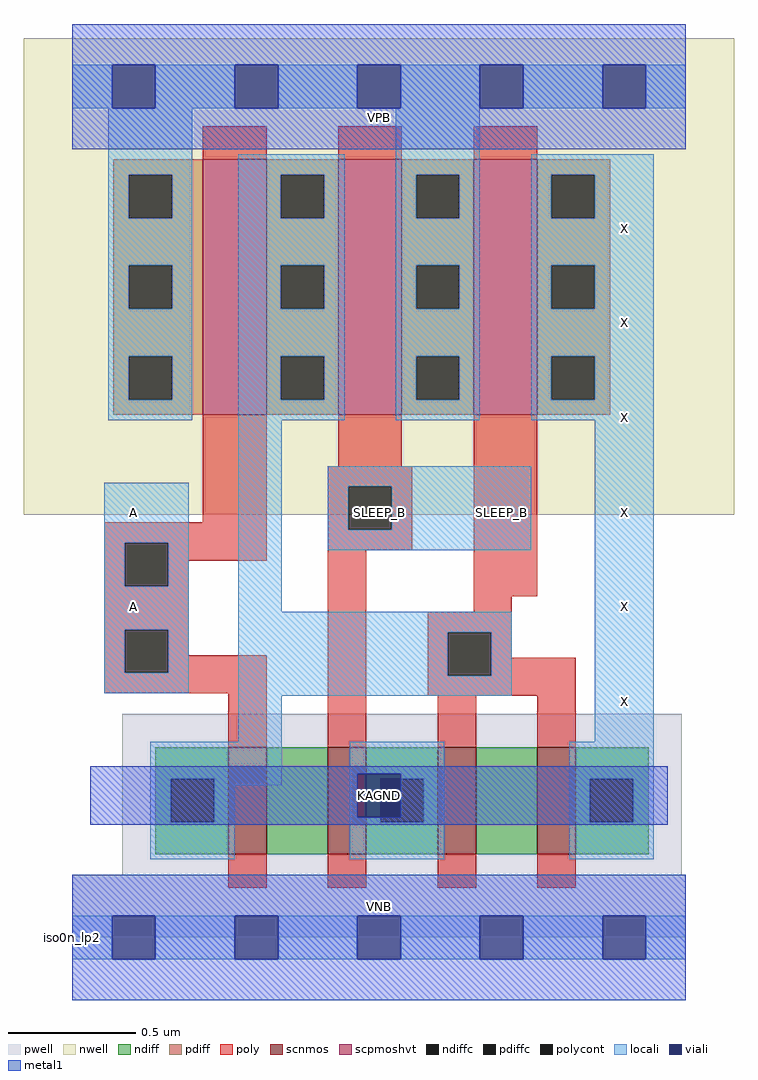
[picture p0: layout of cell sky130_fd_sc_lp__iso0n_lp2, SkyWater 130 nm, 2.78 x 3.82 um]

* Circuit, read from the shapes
.subckt sky130_fd_sc_lp__iso0n_lp2 A SLEEP_B KAGND VGND VNB VPB VPWR X
XM1 n1 A n2 VNB sky130_fd_pr__nfet_01v8 w=0.42 l=0.15
XM2 KAGND SLEEP_B n1 VNB sky130_fd_pr__nfet_01v8 w=0.42 l=0.15
XM3 n3 n2 KAGND VNB sky130_fd_pr__nfet_01v8 w=0.42 l=0.15
XM4 X n2 n3 VNB sky130_fd_pr__nfet_01v8 w=0.42 l=0.15
XM5 n2 A VPWR VPB sky130_fd_pr__pfet_01v8_hvt w=1 l=0.25
XM6 VPWR SLEEP_B n2 VPB sky130_fd_pr__pfet_01v8_hvt w=1 l=0.25
XM7 X n2 VPWR VPB sky130_fd_pr__pfet_01v8_hvt w=1 l=0.25
.ends

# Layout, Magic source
magic
tech sky130A
magscale 1 2
<< nwell >>
rect -38 331 518 704
<< pwell >>
rect 39 49 477 175
rect 0 0 480 49
<< scnmos >>
rect 122 65 152 149
rect 200 65 230 149
rect 286 65 316 149
rect 364 65 394 149
<< scpmoshvt >>
rect 102 409 152 609
rect 208 409 258 609
rect 314 409 364 609
<< ndiff >>
rect 65 124 122 149
rect 65 90 77 124
rect 111 90 122 124
rect 65 65 122 90
rect 152 65 200 149
rect 230 124 286 149
rect 230 90 241 124
rect 275 90 286 124
rect 230 65 286 90
rect 316 65 364 149
rect 394 124 451 149
rect 394 90 405 124
rect 439 90 451 124
rect 394 65 451 90
<< pdiff >>
rect 32 597 102 609
rect 32 563 44 597
rect 78 563 102 597
rect 32 526 102 563
rect 32 492 44 526
rect 78 492 102 526
rect 32 455 102 492
rect 32 421 44 455
rect 78 421 102 455
rect 32 409 102 421
rect 152 597 208 609
rect 152 563 163 597
rect 197 563 208 597
rect 152 526 208 563
rect 152 492 163 526
rect 197 492 208 526
rect 152 455 208 492
rect 152 421 163 455
rect 197 421 208 455
rect 152 409 208 421
rect 258 597 314 609
rect 258 563 269 597
rect 303 563 314 597
rect 258 526 314 563
rect 258 492 269 526
rect 303 492 314 526
rect 258 455 314 492
rect 258 421 269 455
rect 303 421 314 455
rect 258 409 314 421
rect 364 597 421 609
rect 364 563 375 597
rect 409 563 421 597
rect 364 526 421 563
rect 364 492 375 526
rect 409 492 421 526
rect 364 455 421 492
rect 364 421 375 455
rect 409 421 421 455
rect 364 409 421 421
<< ndiffc >>
rect 77 90 111 124
rect 241 90 275 124
rect 405 90 439 124
<< pdiffc >>
rect 44 563 78 597
rect 44 492 78 526
rect 44 421 78 455
rect 163 563 197 597
rect 163 492 197 526
rect 163 421 197 455
rect 269 563 303 597
rect 269 492 303 526
rect 269 421 303 455
rect 375 563 409 597
rect 375 492 409 526
rect 375 421 409 455
<< poly >>
rect 102 609 152 635
rect 208 609 258 635
rect 314 609 364 635
rect 102 325 152 409
rect 208 369 258 409
rect 25 309 152 325
rect 25 275 41 309
rect 75 295 152 309
rect 200 353 266 369
rect 200 319 216 353
rect 250 319 266 353
rect 200 303 266 319
rect 75 275 91 295
rect 25 241 91 275
rect 25 207 41 241
rect 75 221 91 241
rect 75 207 152 221
rect 25 191 152 207
rect 122 149 152 191
rect 200 149 230 303
rect 314 267 364 409
rect 314 255 344 267
rect 278 239 344 255
rect 278 205 294 239
rect 328 219 344 239
rect 328 205 394 219
rect 278 189 394 205
rect 286 149 316 189
rect 364 149 394 189
rect 122 39 152 65
rect 200 39 230 65
rect 286 39 316 65
rect 364 39 394 65
<< polycont >>
rect 41 275 75 309
rect 216 319 250 353
rect 41 207 75 241
rect 294 205 328 239
<< locali >>
rect 0 649 31 683
rect 65 649 127 683
rect 161 649 223 683
rect 257 649 319 683
rect 353 649 415 683
rect 449 649 480 683
rect 28 597 94 649
rect 28 563 44 597
rect 78 563 94 597
rect 28 526 94 563
rect 28 492 44 526
rect 78 492 94 526
rect 28 455 94 492
rect 28 421 44 455
rect 78 421 94 455
rect 28 405 94 421
rect 130 597 213 613
rect 130 563 163 597
rect 197 563 213 597
rect 130 526 213 563
rect 130 492 163 526
rect 197 492 213 526
rect 130 455 213 492
rect 130 421 163 455
rect 197 421 213 455
rect 130 405 213 421
rect 253 597 319 649
rect 253 563 269 597
rect 303 563 319 597
rect 253 526 319 563
rect 253 492 269 526
rect 303 492 319 526
rect 253 455 319 492
rect 253 421 269 455
rect 303 421 319 455
rect 253 405 319 421
rect 359 597 455 613
rect 359 563 375 597
rect 409 563 455 597
rect 359 526 455 563
rect 359 492 375 526
rect 409 492 455 526
rect 359 455 455 492
rect 359 421 375 455
rect 409 421 455 455
rect 359 405 455 421
rect 25 309 91 356
rect 25 275 41 309
rect 75 275 91 309
rect 25 241 91 275
rect 25 207 41 241
rect 75 207 91 241
rect 25 191 91 207
rect 130 255 164 405
rect 200 353 359 369
rect 200 319 216 353
rect 250 319 359 353
rect 200 303 359 319
rect 130 239 344 255
rect 130 205 294 239
rect 328 205 344 239
rect 130 189 344 205
rect 130 153 164 189
rect 409 153 455 405
rect 61 124 164 153
rect 61 90 77 124
rect 111 119 164 124
rect 217 128 291 153
rect 111 90 127 119
rect 61 61 127 90
rect 217 94 223 128
rect 257 124 291 128
rect 217 90 241 94
rect 275 90 291 124
rect 217 61 291 90
rect 389 124 455 153
rect 389 90 405 124
rect 439 90 455 124
rect 389 61 455 90
rect 0 -17 31 17
rect 65 -17 127 17
rect 161 -17 223 17
rect 257 -17 319 17
rect 353 -17 415 17
rect 449 -17 480 17
<< viali >>
rect 31 649 65 683
rect 127 649 161 683
rect 223 649 257 683
rect 319 649 353 683
rect 415 649 449 683
rect 223 124 257 128
rect 223 94 241 124
rect 241 94 257 124
rect 31 -17 65 17
rect 127 -17 161 17
rect 223 -17 257 17
rect 319 -17 353 17
rect 415 -17 449 17
<< metal1 >>
rect 0 683 480 715
rect 0 649 31 683
rect 65 649 127 683
rect 161 649 223 683
rect 257 649 319 683
rect 353 649 415 683
rect 449 649 480 683
rect 0 617 480 649
rect 14 128 466 134
rect 14 94 223 128
rect 257 94 466 128
rect 14 88 466 94
rect 0 17 480 49
rect 0 -17 31 17
rect 65 -17 127 17
rect 161 -17 223 17
rect 257 -17 319 17
rect 353 -17 415 17
rect 449 -17 480 17
rect 0 -49 480 -17
<< labels >>
flabel pwell s 0 0 480 49 0 FreeSans 200 0 0 0 VNB
port 5 nsew ground bidirectional
flabel nwell s 0 617 480 666 0 FreeSans 200 0 0 0 VPB
port 6 nsew power bidirectional
rlabel comment s 0 0 0 0 4 iso0n_lp2
flabel metal1 s 14 88 466 134 0 FreeSans 340 0 0 0 KAGND
port 3 nsew ground input
flabel metal1 s 0 617 480 666 0 FreeSans 340 0 0 0 VPWR
port 7 nsew power bidirectional
flabel metal1 s 0 0 480 49 0 FreeSans 340 0 0 0 VGND
port 4 nsew ground bidirectional
flabel locali s 223 316 257 350 0 FreeSans 340 0 0 0 SLEEP_B
port 2 nsew signal input
flabel locali s 319 316 353 350 0 FreeSans 340 0 0 0 SLEEP_B
port 2 nsew signal input
flabel locali s 31 242 65 276 0 FreeSans 340 0 0 0 A
port 1 nsew signal input
flabel locali s 31 316 65 350 0 FreeSans 340 0 0 0 A
port 1 nsew signal input
flabel locali s 415 168 449 202 0 FreeSans 340 0 0 0 X
port 8 nsew signal output
flabel locali s 415 242 449 276 0 FreeSans 340 0 0 0 X
port 8 nsew signal output
flabel locali s 415 316 449 350 0 FreeSans 340 0 0 0 X
port 8 nsew signal output
flabel locali s 415 390 449 424 0 FreeSans 340 0 0 0 X
port 8 nsew signal output
flabel locali s 415 464 449 498 0 FreeSans 340 0 0 0 X
port 8 nsew signal output
flabel locali s 415 538 449 572 0 FreeSans 340 0 0 0 X
port 8 nsew signal output
<< properties >>
string LEFsite unit
string LEFclass CORE
string FIXED_BBOX 0 0 480 666
string GDS_FILE $PDKPATH/libs.ref/sky130_fd_sc_lp/gds/sky130_fd_sc_lp.gds
string LEFsymmetry X Y R90
string GDS_END 915526
string GDS_START 909708
<< end >>
